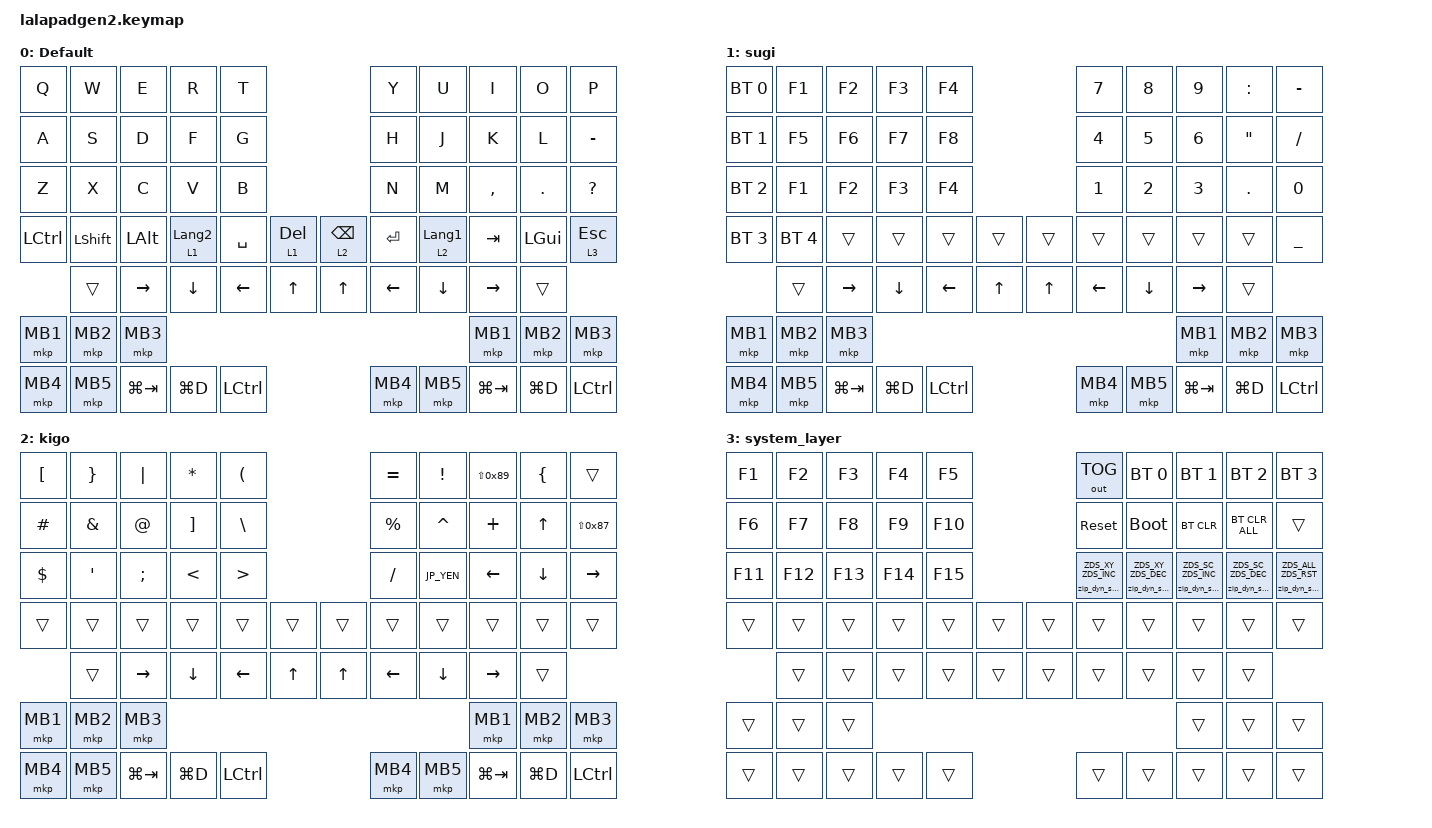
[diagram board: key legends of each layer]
#include <input/processors.dtsi>
#include <dt-bindings/zmk/zip_dynamic_scale.h>
#include <behaviors.dtsi>
#include <dt-bindings/zmk/bt.h>
#include <dt-bindings/zmk/keys.h>
#include <dt-bindings/zmk/outputs.h>
#include <dt-bindings/zmk/pointing.h>

// OS設定を日本語キーボードのまま使用するための変換定義

#define JP_DQUOTE       AT                // "
#define JP_AMPERSAND    CARET             // &
#define JP_QUOTE        AMPERSAND         // '
#define JP_EQUAL        UNDER             // =
#define JP_CARET        EQUAL             // ^
#define JP_YEN          0x89              // ¥
#define JP_PLUS         COLON             // +
#define JP_TILDE        PLUS              // ~
#define JP_PIPE         LS(0x89)          // |
#define JP_AT           LEFT_BRACKET      // @
#define JP_COLON        SINGLE_QUOTE      // :
#define JP_ASTERISK     DOUBLE_QUOTES     // *
#define JP_BACKQUOTE    LEFT_BRACE        // `
#define JP_UNDERSCORE   LS(0x87)          // _
#define JP_LBRACKET     RIGHT_BRACKET     // [
#define JP_RBRACKET     BACKSLASH         // ]
#define JP_LPAREN       ASTERISK          // (
#define JP_RPAREN       LEFT_PARENTHESIS  // )
#define JP_LBRACE       RIGHT_BRACE       // {
#define JP_RBRACE       PIPE              // }
#define JP_KANA         LANGUAGE_1        // かな
#define JP_EISU         LANGUAGE_2        // 英数
#define JP_HANZEN       GRAVE             // 半角/全角
#define DEFAULT_LAYER   0
#define SECONDARY_LAYER 1
#define TERTIARY_LAYER  2
#define SYSTEM_LAYER    3

&mt { quick-tap-ms = <200>; };

&lt { quick-tap-ms = <200>; };

/ {
    behaviors {
        zip_dyn_scale: zip_dyn_scale {
            compatible = "zmk,behavior-zip-dynamic-scale";
            #binding-cells = <2>;
        };

        zip_dyn_scale_set: zip_dyn_scale_set {
            compatible = "zmk,behavior-zip-dynamic-scale-set";
            #binding-cells = <2>;
        };

        mt2: mod_tap2 {
            compatible = "zmk,behavior-hold-tap";
            #binding-cells = <2>;
            flavor = "tap-preferred";
            tapping-term-ms = <200>;
            quick-tap-ms = <200>;
            require-prior-idle-ms = <125>;
            bindings = <&kp>, <&kp>;
        };

        tap_dance_layer_1and2: tap_dance_layer_1and2 {
            compatible = "zmk,behavior-tap-dance";
            label = "td_mo12";
            #binding-cells = <0>;
            bindings = <&mo 1>, <&mo 2>;
        };
    };

    combos {
        compatible = "zmk,combos";

        BC {
            bindings = <&bt BT_CLR>;
            key-positions = <24 22>;
        };

        BCA {
            bindings = <&bt BT_CLR_ALL>;
            key-positions = <24 22 10>;
        };
    };

    keymap {
        compatible = "zmk,keymap";

        DEFAULT_LAYER {
            display-name = "Default";
            bindings = <
&kp Q      &kp W           &kp E         &kp R             &kp T                                     &kp Y      &kp U             &kp I        &kp O         &kp P
&kp A      &kp S           &kp D         &kp F             &kp G                                     &kp H      &kp J             &kp K        &kp L         &kp MINUS
&kp Z      &kp X           &kp C         &kp V             &kp B                                     &kp N      &kp M             &kp COMMA    &kp PERIOD    &kp QUESTION
&kp LCTRL  &kp LEFT_SHIFT  &kp LEFT_ALT  &lt 1 LANGUAGE_2  &kp SPACE  &lt 1 DELETE  &lt 2 BACKSPACE  &kp ENTER  &lt 2 LANGUAGE_1  &kp TAB      &kp LEFT_GUI  &lt 3 ESCAPE
           &trans          &kp RIGHT     &kp DOWN          &kp LEFT   &kp UP        &kp UP           &kp LEFT   &kp DOWN          &kp RIGHT    &trans
&mkp MB1   &mkp MB2        &mkp MB3                                                                                               &mkp MB1     &mkp MB2      &mkp MB3
&mkp MB4   &mkp MB5        &kp LG(TAB)   &kp LG(D)         &kp LCTRL                                 &mkp MB4   &mkp MB5          &kp LG(TAB)  &kp LG(D)     &kp LCTRL
            >;
        };

        sugi {
            bindings = <
&bt BT_SEL 0  &kp F1        &kp F2       &kp F3     &kp F4                     &kp N7    &kp N8    &kp N9       &kp JP_PLUS      &kp MINUS
&bt BT_SEL 1  &kp F5        &kp F6       &kp F7     &kp F8                     &kp N4    &kp N5    &kp N6       &kp JP_ASTERISK  &kp FSLH
&bt BT_SEL 2  &kp F1        &kp F2       &kp F3     &kp F4                     &kp N1    &kp N2    &kp N3       &kp DOT          &kp N0
&bt BT_SEL 3  &bt BT_SEL 4  &trans       &trans     &trans     &trans  &trans  &trans    &trans    &trans       &trans           &kp JP_EQUAL
              &trans        &kp RIGHT    &kp DOWN   &kp LEFT   &kp UP  &kp UP  &kp LEFT  &kp DOWN  &kp RIGHT    &trans
&mkp MB1      &mkp MB2      &mkp MB3                                                               &mkp MB1     &mkp MB2         &mkp MB3
&mkp MB4      &mkp MB5      &kp LG(TAB)  &kp LG(D)  &kp LCTRL                  &mkp MB4  &mkp MB5  &kp LG(TAB)  &kp LG(D)        &kp LCTRL
            >;
        };

        kigo {
            bindings = <
&kp JP_AT   &kp JP_LBRACE  &kp JP_RBRACE  &kp JP_LPAREN    &kp JP_RPAREN                     &kp JP_CARET  &kp EXCLAMATION   &kp JP_PIPE   &kp JP_BACKQUOTE  &trans
&kp HASH    &kp JP_QUOTE   &kp JP_DQUOTE  &kp JP_LBRACKET  &kp JP_RBRACKET                   &kp PERCENT   &kp JP_AMPERSAND  &kp JP_TILDE  &kp UP            &kp JP_UNDERSCORE
&kp DOLLAR  &kp JP_COLON   &kp SEMI       &kp LESS_THAN    &kp GREATER_THAN                  &kp FSLH      &kp JP_YEN        &kp LEFT      &kp DOWN          &kp RIGHT
&trans      &trans         &trans         &trans           &trans            &trans  &trans  &trans        &trans            &trans        &trans            &trans
            &trans         &kp RIGHT      &kp DOWN         &kp LEFT          &kp UP  &kp UP  &kp LEFT      &kp DOWN          &kp RIGHT     &trans
&mkp MB1    &mkp MB2       &mkp MB3                                                                                          &mkp MB1      &mkp MB2          &mkp MB3
&mkp MB4    &mkp MB5       &kp LG(TAB)    &kp LG(D)        &kp LCTRL                         &mkp MB4      &mkp MB5          &kp LG(TAB)   &kp LG(D)         &kp LCTRL
            >;
        };

        SYSTEM_LAYER {
            display-name = "system_layer";
            bindings = <
&kp F1   &kp F2   &kp F3   &kp F4   &kp F5                   &out OUT_TOG                   &bt BT_SEL 0                   &bt BT_SEL 1                   &bt BT_SEL 2                   &bt BT_SEL 3
&kp F6   &kp F7   &kp F8   &kp F9   &kp F10                  &sys_reset                     &bootloader                    &bt BT_CLR                     &bt BT_CLR_ALL                 &trans
&kp F11  &kp F12  &kp F13  &kp F14  &kp F15                  &zip_dyn_scale ZDS_XY ZDS_INC  &zip_dyn_scale ZDS_XY ZDS_DEC  &zip_dyn_scale ZDS_SC ZDS_INC  &zip_dyn_scale ZDS_SC ZDS_DEC  &zip_dyn_scale ZDS_ALL ZDS_RST
&trans   &trans   &trans   &trans   &trans   &trans  &trans  &trans                         &trans                         &trans                         &trans                         &trans
         &trans   &trans   &trans   &trans   &trans  &trans  &trans                         &trans                         &trans                         &trans
&trans   &trans   &trans                                                                                                   &trans                         &trans                         &trans
&trans   &trans   &trans   &trans   &trans                   &trans                         &trans                         &trans                         &trans                         &trans
            >;
        };
    };

    conditional_layers {
        compatible = "zmk,conditional-layers";

        Cond_Syslayer {
            if-layers = <1 2>;
            then-layer = <3>;
        };
    };
};
